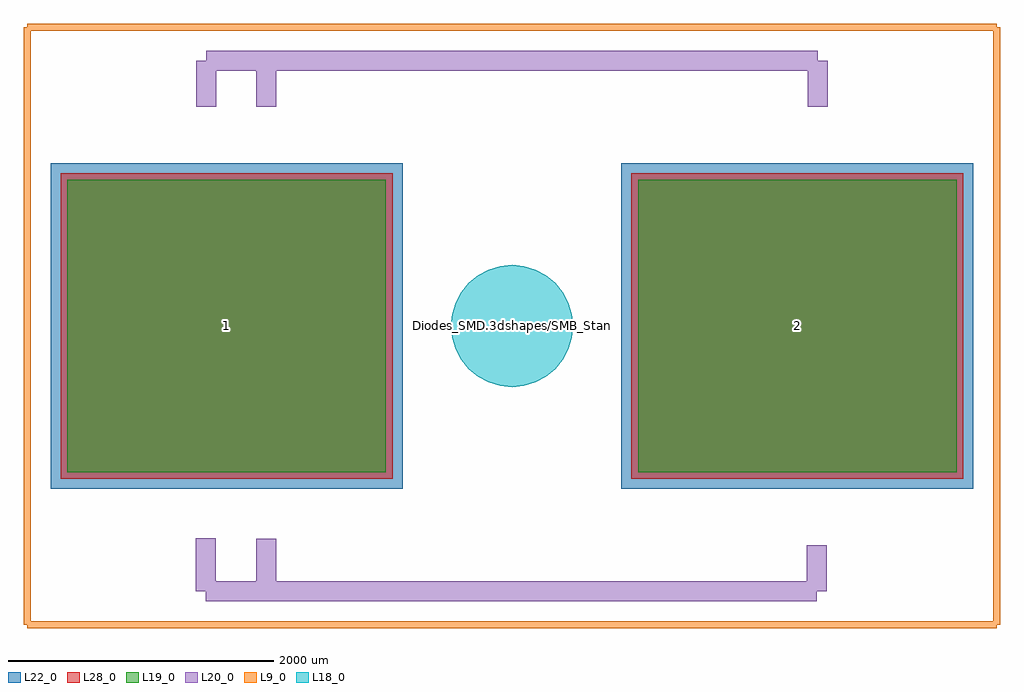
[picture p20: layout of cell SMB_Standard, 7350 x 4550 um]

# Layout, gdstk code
import gdstk
lib = gdstk.Library(unit=1e-6, precision=1e-09)
def R(c, l, rs):  # rectangles x0, y0, x1, y1
    for r in rs: c.add(gdstk.rectangle(r[:2], r[2:], *l))
def P(c, l, *ps):  # polygons
    for p in ps: c.add(gdstk.Polygon(p, *l))
L9_0 = (9, 0)
L18_0 = (18, 0)
L19_0 = (19, 0)
L20_0 = (20, 0)
L22_0 = (22, 0)
L28_0 = (28, 0)

smb_standard = lib.new_cell('SMB_Standard')
P(smb_standard, L18_0, [(223.779,0),(219.479,43.657),(206.745,85.637),(186.065,124.325),(158.236,158.236),(124.325,186.065),(85.637,206.745),(43.657,219.479),(0,223.779),(-43.657,219.479),(-85.637,206.745),(-124.325,186.065),(-158.236,158.236),(-186.065,124.325),(-206.745,85.637),(-219.479,43.657),(-223.779,0),(-219.479,-43.657),(-206.745,-85.637),(-186.065,-124.325),(-158.236,-158.236),(-124.325,-186.065),(-85.637,-206.745),(-43.657,-219.479),(0,-223.779),(43.657,-219.479),(85.637,-206.745),(124.325,-186.065),(158.236,-158.236),(186.065,-124.325),(206.745,-85.637),(219.479,-43.657)],
  [(460.364,0),(451.518,89.813),(425.321,176.174),(382.779,255.765),(325.527,325.527),(255.765,382.779),(176.174,425.321),(89.813,451.518),(0,460.364),(-89.813,451.518),(-176.174,425.321),(-255.765,382.779),(-325.527,325.527),(-382.779,255.765),(-425.321,176.174),(-451.518,89.813),(-460.364,0),(-451.518,-89.813),(-425.321,-176.174),(-382.779,-255.765),(-325.527,-325.527),(-255.765,-382.779),(-176.174,-425.321),(-89.813,-451.518),(0,-460.364),(89.813,-451.518),(176.174,-425.321),(255.765,-382.779),(325.527,-325.527),(382.779,-255.765),(425.321,-176.174),(451.518,-89.813)])
R(smb_standard, L19_0, [(-3348.52,-1100.62,-949.16,1100.62), (949.16,-1100.62,3348.52,1100.62)])
R(smb_standard, L22_0, [(-3473.52,-1225.62,-824.16,1225.62), (824.16,-1225.62,3473.52,1225.62)])
R(smb_standard, L28_0, [(-3398.52,-1150.62,-899.16,1150.62), (899.16,-1150.62,3398.52,1150.62)])
smb_standard.add(gdstk.FlexPath([(2301.24,1998.98),(2301.24,1800.86)], 149.998, ends="flush", simple_path=True, layer=20, datatype=0))  # L20_0
smb_standard.add(gdstk.FlexPath([(-2301.24,1998.98),(2301.24,1998.98)], 149.998, ends="flush", simple_path=True, layer=20, datatype=0))  # L20_0
smb_standard.add(gdstk.FlexPath([(-2301.24,1998.98),(-2301.24,1800.86)], 149.998, ends="flush", simple_path=True, layer=20, datatype=0))  # L20_0
smb_standard.add(gdstk.FlexPath([(-2306.32,-1996.44),(-2306.32,-1798.32)], 149.998, ends="flush", simple_path=True, layer=20, datatype=0))  # L20_0
smb_standard.add(gdstk.FlexPath([(-2306.32,-1996.44),(2296.16,-1996.44)], 149.998, ends="flush", simple_path=True, layer=20, datatype=0))  # L20_0
smb_standard.add(gdstk.FlexPath([(2296.16,-1996.44),(2296.16,-1798.32)], 149.998, ends="flush", simple_path=True, layer=20, datatype=0))  # L20_0
smb_standard.add(gdstk.FlexPath([(-1849.28,1998.98),(-1849.28,1800.86)], 149.998, ends="flush", simple_path=True, layer=20, datatype=0))  # L20_0
smb_standard.add(gdstk.FlexPath([(-1849.28,-1948.98),(-1849.28,-1750.86)], 149.998, ends="flush", simple_path=True, layer=20, datatype=0))  # L20_0
smb_standard.add(gdstk.FlexPath([(2301.24,1800),(2301.24,1651)], 149.998, ends="flush", simple_path=True, layer=20, datatype=0))  # L20_0
smb_standard.add(gdstk.FlexPath([(-1849.28,1800),(-1849.28,1651)], 149.998, ends="flush", simple_path=True, layer=20, datatype=0))  # L20_0
smb_standard.add(gdstk.FlexPath([(-2301.24,1800),(-2301.24,1651)], 149.998, ends="flush", simple_path=True, layer=20, datatype=0))  # L20_0
smb_standard.add(gdstk.FlexPath([(2296.16,-1800),(2296.16,-1651)], 149.998, ends="flush", simple_path=True, layer=20, datatype=0))  # L20_0
smb_standard.add(gdstk.FlexPath([(-1849.28,-1750),(-1849.28,-1601)], 149.998, ends="flush", simple_path=True, layer=20, datatype=0))  # L20_0
smb_standard.add(gdstk.FlexPath([(-2306.32,-1800),(-2306.32,-1600.2)], 149.998, ends="flush", simple_path=True, layer=20, datatype=0))  # L20_0
smb_standard.add(gdstk.FlexPath([(-3650,-2250),(-3650,2250)], 50, ends="flush", simple_path=True, layer=9, datatype=0))  # L9_0
smb_standard.add(gdstk.FlexPath([(3650,-2250),(-3650,-2250)], 50, ends="flush", simple_path=True, layer=9, datatype=0))  # L9_0
smb_standard.add(gdstk.FlexPath([(3650,2250),(3650,-2250)], 50, ends="flush", simple_path=True, layer=9, datatype=0))  # L9_0
smb_standard.add(gdstk.FlexPath([(-3650,2250),(3650,2250)], 50, ends="flush", simple_path=True, layer=9, datatype=0))  # L9_0
smb_standard.add(gdstk.Label('Diodes_SMD.3dshapes/SMB_Standard.wrl', (0,0), layer=12, texttype=0))
smb_standard.add(gdstk.Label('2', (2148.84,0), layer=28, texttype=0))
smb_standard.add(gdstk.Label('1', (-2148.84,0), layer=28, texttype=0))
smb_standard.add(gdstk.Label('A', (3000,-3200), layer=9, texttype=0))
smb_standard.add(gdstk.Label('K', (-3250,-3300), layer=9, texttype=0))
smb_standard.add(gdstk.Label('type', (50,-4700), layer=9, texttype=0))
smb_standard.add(gdstk.Label('devicename', (50,3100), layer=9, texttype=0))

lib.write_gds('SMB_Standard.gds')
